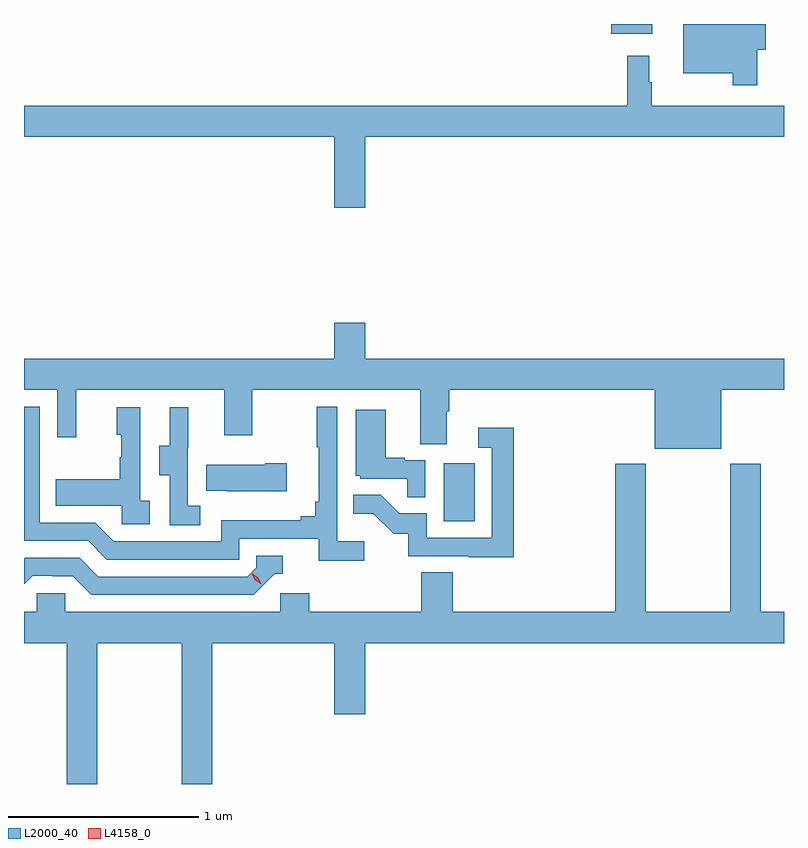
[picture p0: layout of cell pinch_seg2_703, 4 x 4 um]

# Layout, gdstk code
import gdstk
lib = gdstk.Library(unit=1e-6, precision=1e-09)
def R(c, l, rs):  # rectangles x0, y0, x1, y1
    for r in rs: c.add(gdstk.rectangle(r[:2], r[2:], *l))
def P(c, l, *ps):  # polygons
    for p in ps: c.add(gdstk.Polygon(p, *l))
L2000_40 = (2000, 40)
L4158_0 = (4158, 0)

pinch_seg2_703 = lib.new_cell('pinch_seg2_703')
R(pinch_seg2_703, L2000_40, [(1136.612,587.004,1136.776,587.311), (1137.494,589.571,1137.709,589.622)])
P(pinch_seg2_703, L2000_40, [(1138.262,589.486),(1138.306,589.486),(1138.306,589.622),(1137.872,589.622),(1137.872,589.364),(1138.134,589.364),(1138.134,589.299),(1138.262,589.299)],
  [(1136.2,589.028),(1138.403,589.028),(1138.403,589.192),(1137.706,589.192),(1137.706,589.316),(1137.694,589.316),(1137.694,589.456),(1137.577,589.456),(1137.577,589.192),(1134.403,589.192),(1134.403,589.028),(1136.036,589.028),(1136.036,588.654),(1136.2,588.654)],
  [(1138.072,587.696),(1138.403,587.696),(1138.403,587.86),(1136.2,587.86),(1136.2,588.049),(1136.036,588.049),(1136.036,587.86),(1134.403,587.86),(1134.403,587.696),(1134.579,587.696),(1134.579,587.448),(1134.677,587.448),(1134.677,587.696),(1135.457,587.696),(1135.457,587.457),(1135.605,587.457),(1135.605,587.696),(1136.489,587.696),(1136.489,587.41),(1136.629,587.41),(1136.629,587.584),(1136.642,587.584),(1136.642,587.696),(1137.722,587.696),(1137.722,587.387),(1138.072,587.387)],
  [(1136.194,586.9),(1136.052,586.9),(1136.052,587.608),(1135.944,587.608),(1135.944,587.395),(1135.955,587.395),(1135.955,587.107),(1135.936,587.107),(1135.936,587.03),(1135.859,587.03),(1135.859,587.011),(1135.44,587.011),(1135.44,586.899),(1134.876,586.899),(1134.777,586.998),(1134.486,586.998),(1134.486,587.607),(1134.403,587.607),(1134.403,586.902),(1134.74,586.902),(1134.839,586.803),(1135.536,586.803),(1135.536,586.914),(1135.955,586.914),(1135.955,586.798),(1136.194,586.798)],
  [(1135.066,587.114),(1135.014,587.114),(1135.014,587.605),(1134.89,587.605),(1134.89,587.46),(1134.916,587.46),(1134.916,587.342),(1134.906,587.342),(1134.906,587.227),(1134.571,587.227),(1134.571,587.087),(1134.918,587.087),(1134.918,586.989),(1135.066,586.989)],
  [(1135.33,587.087),(1135.266,587.087),(1135.266,587.391),(1135.268,587.391),(1135.268,587.605),(1135.169,587.605),(1135.169,587.403),(1135.115,587.403),(1135.115,587.248),(1135.17,587.248),(1135.17,586.984),(1135.33,586.984)],
  [(1136.514,587.325),(1136.408,587.325),(1136.408,587.338),(1136.308,587.338),(1136.308,587.593),(1136.15,587.593),(1136.15,587.244),(1136.172,587.244),(1136.172,587.229),(1136.419,587.229),(1136.419,587.131),(1136.514,587.131)],
  [(1136.981,587.497),(1136.793,587.497),(1136.793,587.391),(1136.865,587.391),(1136.865,586.917),(1136.523,586.917),(1136.523,587.046),(1136.379,587.046),(1136.281,587.144),(1136.137,587.144),(1136.137,587.045),(1136.241,587.045),(1136.348,586.938),(1136.425,586.938),(1136.425,586.821),(1136.743,586.821),(1136.743,586.816),(1136.981,586.816)],
  [(1135.786,587.31),(1135.673,587.31),(1135.673,587.302),(1135.363,587.302),(1135.363,587.165),(1135.471,587.165),(1135.471,587.162),(1135.786,587.162)],
  [(1134.789,586.364),(1135.234,586.364),(1135.234,585.622),(1135.394,585.622),(1135.394,586.364),(1136.036,586.364),(1136.036,585.99),(1136.2,585.99),(1136.2,586.364),(1138.403,586.364),(1138.403,586.528),(1138.28,586.528),(1138.28,587.308),(1138.12,587.308),(1138.12,586.528),(1137.675,586.528),(1137.675,587.308),(1137.515,587.308),(1137.515,586.528),(1136.66,586.528),(1136.66,586.736),(1136.495,586.736),(1136.495,586.528),(1135.904,586.528),(1135.904,586.626),(1135.752,586.626),(1135.752,586.528),(1134.621,586.528),(1134.621,586.626),(1134.471,586.626),(1134.471,586.528),(1134.403,586.528),(1134.403,586.364),(1134.629,586.364),(1134.629,585.622),(1134.789,585.622)],
  [(1135.722,586.728),(1135.765,586.728),(1135.765,586.824),(1135.626,586.824),(1135.626,586.761),(1135.578,586.713),(1134.795,586.713),(1134.696,586.812),(1134.407,586.812),(1134.403,586.808),(1134.403,586.677),(1134.407,586.677),(1134.449,586.719),(1134.552,586.719),(1134.552,586.716),(1134.659,586.716),(1134.758,586.617),(1135.611,586.617)])
P(pinch_seg2_703, L4158_0, [(1135.65,586.676),(1135.619,586.695),(1135.602,586.728),(1135.602,586.728),(1135.603,586.728),(1135.634,586.709),(1135.651,586.676),(1135.651,586.676)])

lib.write_gds('pinch_seg2_703.gds')
